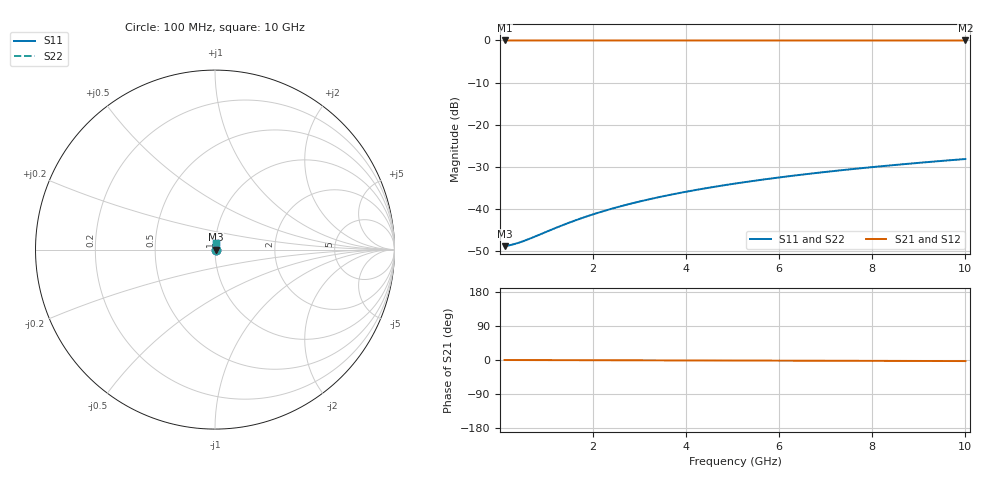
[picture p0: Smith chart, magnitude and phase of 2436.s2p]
# Hz S RI R 50.00
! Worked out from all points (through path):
!   100 points, 100 MHz to 10 GHz, reference 50 ohm
!   highest |S21| = -0.03 dB at 100 MHz (marker M1); lowest = 0.0 dB at 10 GHz (marker M2)
!   lowest |S11| = -48.8 dB at 100 MHz (marker M3), VSWR 1.01, Z = 50.4 + j0.0391 ohm
!   |S11| at or under -10 dB: start of sweep to end of sweep
!   |S22| runs from -48.8 to -28.1 dB; largest |S21 - S12| = 0
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1e8  0.00362 0.000388  0.9964 -0.000492  0.9964 -0.000492  0.00362 0.000388
2e8  0.00365 0.000777  0.9964 -0.000983  0.9964 -0.000983  0.00365 0.000777
3e8  0.00366 0.00117  0.9963 -0.00147  0.9963 -0.00147  0.00366 0.00117
5e8  0.00369 0.00194  0.9963 -0.00246  0.9963 -0.00246  0.00369 0.00194
7e8  0.00372 0.00272  0.9963 -0.00344  0.9963 -0.00344  0.00372 0.00272
1.3e9  0.00378 0.00505  0.9962 -0.00639  0.9962 -0.00639  0.00378 0.00505
1.6e9  0.00382 0.00621  0.9962 -0.00786  0.9962 -0.00786  0.00382 0.00621
1.8e9  0.00384 0.00699  0.9962 -0.00885  0.9962 -0.00885  0.00384 0.00699
2.2e9  0.00389 0.00854  0.9961 -0.0108  0.9961 -0.0108  0.00389 0.00854
2.6e9  0.00394 0.0101  0.9961 -0.0128  0.9961 -0.0128  0.00394 0.0101
3e9  0.004 0.0116  0.996 -0.0147  0.996 -0.0147  0.004 0.0116
3.4e9  0.00406 0.0132  0.9959 -0.0167  0.9959 -0.0167  0.00406 0.0132
3.8e9  0.00413 0.0148  0.9959 -0.0187  0.9959 -0.0187  0.00413 0.0148
4.2e9  0.0042 0.0163  0.9958 -0.0206  0.9958 -0.0206  0.0042 0.0163
4.6e9  0.00428 0.0179  0.9957 -0.0226  0.9957 -0.0226  0.00428 0.0179
5.1e9  0.00438 0.0198  0.9956 -0.0251  0.9956 -0.0251  0.00438 0.0198
5.9e9  0.00457 0.0229  0.9954 -0.029  0.9954 -0.029  0.00457 0.0229
6.7e9  0.00478 0.026  0.9952 -0.0329  0.9952 -0.0329  0.00478 0.026
7.5e9  0.00502 0.0291  0.9949 -0.0368  0.9949 -0.0368  0.00502 0.0291
8.4e9  0.00532 0.0326  0.9946 -0.0413  0.9946 -0.0413  0.00532 0.0326
9.2e9  0.0056 0.0357  0.9943 -0.0452  0.9943 -0.0452  0.0056 0.0357
1e10  0.00592 0.0388  0.994 -0.0491  0.994 -0.0491  0.00592 0.0388
